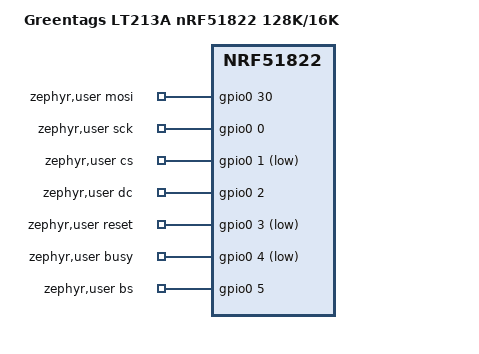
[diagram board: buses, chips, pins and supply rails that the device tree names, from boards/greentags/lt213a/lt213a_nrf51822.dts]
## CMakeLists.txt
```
cmake_minimum_required(VERSION 3.20.0)
list(APPEND BOARD_ROOT ${CMAKE_CURRENT_SOURCE_DIR})
find_package(Zephyr REQUIRED HINTS $ENV{ZEPHYR_BASE})
project(greentags_opendisplay C)
execute_process(COMMAND git rev-parse --short=12 HEAD
    WORKING_DIRECTORY ${CMAKE_CURRENT_SOURCE_DIR}
    OUTPUT_VARIABLE OD_BUILD_SHA OUTPUT_STRIP_TRAILING_WHITESPACE ERROR_QUIET)
if(NOT OD_BUILD_SHA)
    set(OD_BUILD_SHA "unknown")
endif()
target_compile_definitions(app PRIVATE OD_BUILD_SHA="${OD_BUILD_SHA}")
target_sources(app PRIVATE src/main.c src/protocol.c src/epd.c src/telemetry.c)
target_include_directories(app PRIVATE src)
target_sources(app PRIVATE src/config_store.c src/storage.c)
target_sources(app PRIVATE src/security.c)
target_sources(app PRIVATE third_party/uzlib/od_zlib_stream.c third_party/uzlib/adler32.c)
target_include_directories(app PRIVATE third_party/uzlib)
target_sources(app PRIVATE src/crypto.c src/crypto_zephyr.c)
```

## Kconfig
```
mainmenu "LT213A OpenDisplay"

config LT213A_EPD_DEEP_SLEEP
    bool "Panel deep sleep (0x07 A5)"
    default y
    help
      Send the UC8151 deep-sleep command after successful power-off.
      RESET wakes the panel for the next transfer. BUSY timeout cleanup
      never sends deep sleep before successful power-off.

# This upstream symbol has no prompt; set the board-specific default before
# importing Zephyr. Keep its high-priority RX and interrupt stacks unchanged.
config BT_CTLR_RX_STACK_SIZE
    default 768

source "Kconfig.zephyr"
```

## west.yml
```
manifest:
  version: "0.13"
  projects:
    - name: zephyr
      url: https://github.com/zephyrproject-rtos/zephyr
      revision: v4.4.2
      west-commands: scripts/west-commands.yml
      import:
        name-allowlist:
          - cmsis_6
          - hal_nordic
  self:
    path: manifest
```

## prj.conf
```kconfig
# Upstream Zephyr Host AND Link Layer. No SoftDevice or bootloader.
CONFIG_BT=y
CONFIG_BT_PERIPHERAL=y
CONFIG_BT_LL_SW_SPLIT=y
CONFIG_BT_MAX_CONN=1
# Callbacks are registered statically with BT_CONN_CB_DEFINE.
CONFIG_BT_CONN_DYNAMIC_CALLBACKS=n
# The fixed GATT database contains exactly one built-in GAP service.
CONFIG_BT_GATT_GAP_SVC_VALIDATE=n
CONFIG_BT_DEVICE_NAME="OD"
CONFIG_BT_DEVICE_NAME_DYNAMIC=y
CONFIG_BT_DEVICE_NAME_MAX=29
CONFIG_BT_SMP=n
CONFIG_BT_SETTINGS=n
CONFIG_BT_PRIVACY=n
CONFIG_BT_GATT_CACHING=n
CONFIG_BT_GATT_SERVICE_CHANGED=n
CONFIG_BT_PHY_UPDATE=n
# nRF51 cleartext DLE support raised the tested Apple peer to ATT MTU 247.
# Asymmetric DLE uses the existing RX node size and fits encrypted replies in one TX packet.
CONFIG_BT_DATA_LEN_UPDATE=y
CONFIG_BT_CTLR_ADVANCED_FEATURES=y
CONFIG_BT_CTLR_DATA_LENGTH_CLEAR=y
CONFIG_BT_CTLR_DATA_LENGTH_MAX=37
# One connection, no PHY update: bound the local control-procedure pool.
CONFIG_BT_CTLR_LLCP_LOCAL_PROC_CTX_BUF_NUM=4
CONFIG_BT_CTLR_PHY_2M=n
CONFIG_BT_CTLR_LE_ENC=n
# Application AES uses the controller-owned ECB peripheral.
CONFIG_BT_CTLR_CRYPTO=y
CONFIG_BT_CTLR_CHAN_SEL_2=n
CONFIG_BT_BUF_ACL_RX_SIZE=251
CONFIG_BT_BUF_ACL_TX_SIZE=56
CONFIG_BT_L2CAP_TX_MTU=247
CONFIG_BT_BUF_ACL_RX_COUNT_EXTRA=1
CONFIG_BT_BUF_ACL_TX_COUNT=1
# One TX packet in flight; Zephyr still needs one extra event buffer.
CONFIG_BT_BUF_EVT_RX_COUNT=2
CONFIG_BT_BUF_EVT_DISCARDABLE_COUNT=1
# One application notification plus response and error-replacement slots.
CONFIG_BT_ATT_TX_COUNT=3
CONFIG_BT_GAP_AUTO_UPDATE_CONN_PARAMS=n
CONFIG_BT_CTLR_CONN_PARAM_REQ=n
CONFIG_BT_L2CAP_TX_BUF_COUNT=2
CONFIG_BT_RX_STACK_SIZE=1024
# Hardware AES reduces crypto frames; see docs/performance.md for limits.
CONFIG_MAIN_STACK_SIZE=1280
CONFIG_SYSTEM_WORKQUEUE_STACK_SIZE=768
CONFIG_ISR_STACK_SIZE=1024
CONFIG_IDLE_STACK_SIZE=128
CONFIG_HEAP_MEM_POOL_SIZE=0
# No time slice is configured or requested by this application/Bluetooth stack.
CONFIG_TIMESLICING=n
# Only bounded relative waits are used; uptime remains 64-bit.
CONFIG_TIMEOUT_64BIT=n
CONFIG_SIZE_OPTIMIZATIONS=n
CONFIG_SPEED_OPTIMIZATIONS=y
# OpenDisplay uses ordinary HCI, single-attribute reads and a local device name.
CONFIG_BT_HCI_VS=n
CONFIG_BT_ASSERT_VERBOSE=n
CONFIG_BT_GATT_READ_MULTIPLE=n
CONFIG_BT_GATT_READ_MULT_VAR_LEN=n
CONFIG_BT_DEVICE_NAME_GATT_WRITABLE=n
# Only legacy undirected advertising; no directed/extended advertising switch.
CONFIG_BT_CTLR_AD_DATA_BACKUP=n
CONFIG_BT_CTLR_MIN_USED_CHAN=n
CONFIG_LTO=y
CONFIG_ISR_TABLES_LOCAL_DECLARATION=y
CONFIG_FLASH=y
CONFIG_USE_DT_CODE_PARTITION=y
CONFIG_GPIO=n
CONFIG_MINIMAL_LIBC=y
CONFIG_CONSOLE=n
CONFIG_SERIAL=n
CONFIG_PRINTK=n
CONFIG_LOG=n
CONFIG_ASSERT=n
CONFIG_STACK_SENTINEL=y
CONFIG_INIT_STACKS=y
CONFIG_THREAD_STACK_INFO=y
CONFIG_REBOOT=y
CONFIG_BOOT_BANNER=n

# Fixed partitions use flash_read/write/erase, not page-layout queries.
CONFIG_FLASH_PAGE_LAYOUT=n
# Errors are returned as negative constants; no per-thread errno variable.
CONFIG_ERRNO=n
```

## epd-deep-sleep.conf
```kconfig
# Default panel mode; RESET wakes it before the next transfer.
CONFIG_LT213A_EPD_DEEP_SLEEP=y
```

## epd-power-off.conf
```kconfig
# Comparison mode: power-off without panel deep sleep.
CONFIG_LT213A_EPD_DEEP_SLEEP=n
```

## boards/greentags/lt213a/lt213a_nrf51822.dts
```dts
/dts-v1/;
#include <nordic/nrf51822_qfab.dtsi>
#include <zephyr/dt-bindings/gpio/gpio.h>

/ {
    model = "Greentags LT213A nRF51822 128K/16K";
    compatible = "greentags,lt213a";
    chosen {
        zephyr,sram = &sram0;
        zephyr,flash = &flash0;
        zephyr,code-partition = &app_partition;
    };
    zephyr,user {
        mosi-gpios = <&gpio0 30 GPIO_ACTIVE_HIGH>;
        sck-gpios = <&gpio0 0 GPIO_ACTIVE_HIGH>;
        cs-gpios = <&gpio0 1 GPIO_ACTIVE_LOW>;
        dc-gpios = <&gpio0 2 GPIO_ACTIVE_HIGH>;
        reset-gpios = <&gpio0 3 GPIO_ACTIVE_LOW>;
        busy-gpios = <&gpio0 4 GPIO_ACTIVE_LOW>;
        bs-gpios = <&gpio0 5 GPIO_ACTIVE_HIGH>;
    };
};
&gpio0 { status = "okay"; };
&gpiote { status = "okay"; };
&uart0 { status = "disabled"; };
&flash0 {
    partitions {
        compatible = "fixed-partitions";
        #address-cells = <1>;
        #size-cells = <1>;
        app_partition: partition@0 { label = "application"; reg = <0 0x1f800>; };
        storage_partition: partition@1f800 { label = "config"; reg = <0x1f800 0x800>; };
    };
};
```

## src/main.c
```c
#include "protocol.h"
#include "config_store.h"
#include "security.h"
#include "telemetry.h"
#include <zephyr/bluetooth/bluetooth.h>
#include <zephyr/bluetooth/conn.h>
#include <zephyr/bluetooth/gatt.h>
#include <zephyr/kernel.h>
#include <zephyr/random/random.h>
#include <hal/nrf_ficr.h>
#include <hal/nrf_wdt.h>
#include <zephyr/sys/atomic.h>
#include <zephyr/sys/byteorder.h>
#include <zephyr/sys/reboot.h>
#include <errno.h>
#include <string.h>

static struct od_protocol protocol;
static struct od_security security;
static atomic_t generation;
static atomic_t link_up;
/* A coalescing wakeup covers both queued commands and connection changes. */
K_SEM_DEFINE(events, 0, 1);
K_SEM_DEFINE(notify_done, 0, 1);
/* Even tickets own an outstanding notification; odd tickets are completed.
 * Only main starts a send. The callback may run after a timeout/disconnect. */
static atomic_t notify_ticket = 1;
static atomic_val_t notify_generation;
static uint8_t msd[16] = {0x46, 0x24, 0, 0, 0, 0, 0, 0, 0, 0, 0, 0, 0, 0, 0, 2};

struct command {
    struct bt_conn *conn;
    atomic_val_t generation;
    uint8_t size;
    bool accepted;
    uint8_t data[OD_MAX_FRAME];
};
K_MSGQ_DEFINE(commands, sizeof(struct command), 1, 4);

static ssize_t written(struct bt_conn *conn, const struct bt_gatt_attr *attr,
                       const void *buf, uint16_t len, uint16_t offset, uint8_t flags)
{
    ARG_UNUSED(attr);
    if (offset || (flags & BT_GATT_WRITE_FLAG_PREPARE)) {
        return BT_GATT_ERR(BT_ATT_ERR_INVALID_OFFSET);
    }
    if (len < 2 || len > OD_MAX_FRAME) { return BT_GATT_ERR(BT_ATT_ERR_INVALID_ATTRIBUTE_LEN); }
    struct command command = { .conn = bt_conn_ref(conn),
        .generation = atomic_get(&generation), .size = len };
    memcpy(command.data, buf, len);
    if (k_msgq_put(&commands, &command, K_NO_WAIT)) {
        bt_conn_unref(command.conn);
        /* WWR has no ATT error response. Drop the link rather than silently
         * losing bytes and allowing a later END to produce the wrong image. */
        bt_conn_disconnect(conn, BT_HCI_ERR_REMOTE_USER_TERM_CONN);
        return BT_GATT_ERR(BT_ATT_ERR_INSUFFICIENT_RESOURCES);
    }
    k_sem_give(&events);
    return len;
}

BT_GATT_SERVICE_DEFINE(display_service,
    BT_GATT_PRIMARY_SERVICE(BT_UUID_DECLARE_16(0x2446)),
    BT_GATT_CHARACTERISTIC(BT_UUID_DECLARE_16(0x2446),
        BT_GATT_CHRC_WRITE | BT_GATT_CHRC_WRITE_WITHOUT_RESP | BT_GATT_CHRC_NOTIFY,
        BT_GATT_PERM_WRITE, NULL, written, NULL),
    BT_GATT_CCC(NULL, BT_GATT_PERM_READ | BT_GATT_PERM_WRITE)
);

static const struct bt_data advertising[] = {
    BT_DATA_BYTES(BT_DATA_FLAGS, BT_LE_AD_GENERAL | BT_LE_AD_NO_BREDR),
    BT_DATA_BYTES(BT_DATA_UUID16_ALL, 0x46, 0x24),
    BT_DATA(BT_DATA_MANUFACTURER_DATA, msd, sizeof(msd)),
};
static struct bt_data scan_response[] = {
    BT_DATA(BT_DATA_NAME_COMPLETE, NULL, 8),
};

static int update_name(void)
{
    BUILD_ASSERT(CONFIG_BT_DEVICE_NAME_MAX == OD_NAME_MAX);
    char name[OD_NAME_MAX + 1];
    size_t len = od_config_name(name, NRF_FICR->DEVICEID[1]);
    int err = bt_set_name(name);
    if (!err) {
        scan_response[0].data = (const uint8_t *)bt_get_name();
        scan_response[0].data_len = len;
    }
    return err;
}

/* Shared Mynewt/Zephyr profile: fast 100–150 ms for 30 s, slow 1 s. */
static int advertise(bool fast)
{
    return bt_le_adv_start(BT_LE_ADV_PARAM(BT_LE_ADV_OPT_CONN,
                           fast ? 160 : 1600, fast ? 240 : 1600, NULL),
                           advertising, ARRAY_SIZE(advertising),
                           scan_response, ARRAY_SIZE(scan_response));
}

#define LINK_IDLE_MS 120000
#define TELEMETRY_MS 300000
#define FAST_ADV_MS 30000

static int sample_msd(void *ctx)
{
    ARG_UNUSED(ctx);
    return od_read_msd(msd);
}

static void connected(struct bt_conn *conn, uint8_t err)
{
    ARG_UNUSED(conn);
    if (!err) {
        atomic_set(&link_up, 1);
        atomic_inc(&generation);
        k_sem_give(&events);
    }
}

static void disconnected(struct bt_conn *conn, uint8_t reason)
{
    ARG_UNUSED(conn); ARG_UNUSED(reason);
    atomic_clear(&link_up);
    atomic_inc(&generation);
    k_sem_give(&events);
}
BT_CONN_CB_DEFINE(connection_callbacks) = {
    .connected = connected,
    .disconnected = disconnected,
};

static bool live(const struct command *command)
{
    struct bt_conn_info info;
    return command->generation == atomic_get(&generation) &&
           !bt_conn_get_info(command->conn, &info) && info.state == BT_CONN_STATE_CONNECTED;
}

static void notification_sent(struct bt_conn *conn, void *user_data)
{
    ARG_UNUSED(conn);
    atomic_val_t ticket = (atomic_val_t)(uintptr_t)user_data;
    /* Zephyr returns the ATT buffer before invoking this callback. */
    if (atomic_cas(&notify_ticket, ticket, ticket | 1)) {
        k_sem_give(&notify_done);
    }
}

static int send_wire(void *ctx, const uint8_t *data, size_t len)
{
    const struct command *command = ctx;
    if (!live(command)) { return -ENOTCONN; }
    uint32_t previous = (uint32_t)atomic_get(&notify_ticket);
    /* Timeout does not cancel a queued notification. Keep its slot reserved
     * on this connection, even if requesting its disconnect fails. */
    if (!(previous & 1) && notify_generation == command->generation) {
        return -EBUSY;
    }
    atomic_val_t ticket = (atomic_val_t)((previous + 2U) & ~1U);
    notify_generation = command->generation;
    atomic_set(&notify_ticket, ticket);
    k_sem_reset(&notify_done);
    struct bt_gatt_notify_params params = {
        .attr = &display_service.attrs[2], .data = data, .len = len,
        .func = notification_sent, .user_data = (void *)(uintptr_t)(uint32_t)ticket,
    };
    int64_t deadline = k_uptime_get() + 2000;
    for (;;) {
        int err = live(command) ? bt_gatt_notify_cb(command->conn, &params) : -ENOTCONN;
        if (!err) { break; }
        if ((err != -ENOMEM && err != -EAGAIN) || k_uptime_get() >= deadline) {
            atomic_set(&notify_ticket, ticket | 1); /* Nothing was queued. */
            return (err == -ENOMEM || err == -EAGAIN) ? -ETIMEDOUT : err;
        }
        k_msleep(10);
    }
    while (atomic_get(&notify_ticket) == ticket) {
        if (!live(command)) { return -ENOTCONN; }
        if (k_uptime_get() >= deadline) { return -ETIMEDOUT; }
        /* Late callbacks may leave stale wakeups; the ticket is authoritative. */
        k_sem_take(&notify_done, K_MSEC(10));
    }
    return live(command) ? 0 : -ENOTCONN;
}

static int send_response(void *ctx, const uint8_t *data, size_t len)
{
    struct command *command = ctx;
    /* As upstream: rejected frames and handshake/discovery traffic must not
     * keep an otherwise idle connection alive indefinitely. */
    if (data[0] == 0 && data[1] == command->data[1] && data[1] != 0x43 && data[1] != 0x50) {
        command->accepted = true;
    }
    if (security.authenticated && data[1] != 0x43 && data[1] != 0x50 && data[0] != 0xfe) {
        uint8_t encrypted[64];
        int count = od_security_encrypt(&security, data, len, encrypted, sizeof(encrypted));
        return count < 0 ? count : send_wire(ctx, encrypted, count);
    }
    return send_wire(ctx, data, len);
}

static int secure_random(void *data, size_t len) { return sys_csrand_get(data, len); }

static int dispatch(struct command *command, const struct od_io *io)
{
    uint32_t now = k_uptime_get_32();
    bool expired = od_security_expire(&security, now);
    if (expired) { od_abort(&protocol, io); od_config_cancel(); }
    if (command->data[0] == 0 && command->data[1] == 0x50) {
        od_abort(&protocol, io); od_config_cancel();
        uint32_t id = NRF_FICR->DEVICEID[0];
        uint8_t device_id[] = {id >> 24, id >> 16, id >> 8, id};
        uint8_t response[23];
        int count = od_security_auth(&security, command->data + 2, command->size - 2,
            now, device_id, secure_random, response);
        return send_wire(command, response, count);
    }
    if (od_security_enabled() && !(command->data[0] == 0 && command->data[1] == 0x43)) {
        if (!security.authenticated) {
            const uint8_t response[] = {0, command->data[1], 0xfe};
            return send_wire(command, response, sizeof(response));
        }
        int count = od_security_decrypt(&security, command->data, command->size, now);
        if (count < 0) {
            /* PIPE DATA retransmissions must not abort the transfer/session. */
            if (count == -EALREADY && command->data[0] == 0 && command->data[1] == 0x81) { return 0; }
            const uint8_t response[] = {0, command->data[1], 0xff};
            return send_wire(command, response, sizeof(response));
        }
        command->size = count;
    }
    return od_handle(&protocol, io, command->data, command->size);
}

static int begin(void *ctx)
{
    ARG_UNUSED(ctx);
    return epd_begin();
}

static int write_panel(void *ctx, const uint8_t *data, size_t len)
{
    ARG_UNUSED(ctx);
    return epd_write(data, len);
}

static int finish(void *ctx, uint8_t mode) { ARG_UNUSED(ctx); return epd_finish(mode); }
static int region(void *ctx, uint16_t x, uint16_t y, uint16_t w, uint16_t h)
{ ARG_UNUSED(ctx); return epd_region(x, y, w, h); }
static void abort_panel(void *ctx) { ARG_UNUSED(ctx); (void)epd_off(); }

static void reboot(void *ctx)
{
    ARG_UNUSED(ctx);
    sys_reboot(SYS_REBOOT_COLD);
}

static void disconnect_idle(struct bt_conn *conn, void *ctx)
{
    if (atomic_get(&generation) != *(atomic_val_t *)ctx) { return; }
    struct bt_conn_info info;
    if (!bt_conn_get_info(conn, &info) && info.state == BT_CONN_STATE_CONNECTED) {
        (void)bt_conn_disconnect(conn, BT_HCI_ERR_REMOTE_USER_TERM_CONN);
    }
}

/* No driver state or extra thread: this board has only 16 KiB RAM. Run while
 * sleeping, pause only for a halted debugger. Feed solely from the main loop;
 * 180 s covers its 60 s idle wait plus bounded panel timeout/cleanup paths. */
void k_sys_fatal_error_handler(unsigned int reason, const struct arch_esf *esf)
{
    ARG_UNUSED(reason); ARG_UNUSED(esf);
    sys_reboot(SYS_REBOOT_COLD);
}

int main(void)
{
    nrf_wdt_behaviour_set(NRF_WDT, NRF_WDT_BEHAVIOUR_RUN_SLEEP_MASK);
    nrf_wdt_reload_value_set(NRF_WDT, 180u * 32768u - 1u);
    nrf_wdt_reload_request_enable(NRF_WDT, NRF_WDT_RR0);
    nrf_wdt_task_trigger(NRF_WDT, NRF_WDT_TASK_START);
    extern int storage_init(void);
    int storage_err = storage_init();
    if (storage_err) { return storage_err; }
    od_security_reset(&security);
    if (od_security_enabled()) { msd[15] |= BIT(3); }
    int err = epd_init();
    if (err) { return err; }
    (void)od_read_msd(msd);
    /* Preserve Nordic's factory static identity without vendor HCI commands.
     * Same FICR validity and static-address bits as Zephyr's Nordic controller.
     */
    if ((NRF_FICR->DEVICEADDRTYPE & 1) &&
        (NRF_FICR->DEVICEADDR[0] != UINT32_MAX ||
         (NRF_FICR->DEVICEADDR[1] & UINT16_MAX) != UINT16_MAX)) {
        bt_addr_le_t identity = {.type = BT_ADDR_LE_RANDOM};
        sys_put_le32(NRF_FICR->DEVICEADDR[0], identity.a.val);
        sys_put_le16(NRF_FICR->DEVICEADDR[1], identity.a.val + 4);
        BT_ADDR_SET_STATIC(&identity.a);
        err = bt_id_create(&identity, NULL);
        if (err < 0) { return err; }
    }
    err = bt_enable(NULL);
    if (err) { return err; }
    err = update_name();
    if (err) { return err; }
    err = advertise(true);
    if (err) { return err; }
    bool fast_advertising = true;
    bool restart_advertising = false;
    int64_t retry_adv_at = 0;
    int64_t slow_adv_at = k_uptime_get() + FAST_ADV_MS;
    atomic_val_t current = -1;
    int64_t last_packet = k_uptime_get();
    int64_t last_activity = last_packet;
    int64_t last_telemetry = k_uptime_get();
    for (;;) {
        nrf_wdt_reload_request_set(NRF_WDT, NRF_WDT_RR0);
        struct command command;
        const struct od_io io = { .send = send_response, .begin = begin,
            .write = write_panel, .finish = finish, .abort = abort_panel,
            .reboot = reboot, .ctx = &command, .msd = msd, .region = region,
            .sample_msd = sample_msd };
        int64_t now = k_uptime_get();
        /* Bound watchdog feeding independently of the five-minute telemetry. */
        int64_t deadline = now + 60000;
        if (!atomic_get(&link_up)) { deadline = MIN(deadline, last_telemetry + TELEMETRY_MS); }
        if (protocol.active || od_config_writing()) { deadline = MIN(deadline, last_packet + 30000); }
        if (atomic_get(&link_up)) { deadline = MIN(deadline, last_activity + LINK_IDLE_MS); }
        else if (restart_advertising) { deadline = MIN(deadline, retry_adv_at); }
        else if (fast_advertising) { deadline = MIN(deadline, slow_adv_at); }
        /* No one-second polling. Connection callbacks wake this wait even
         * when the command queue is full, so disconnect cleanup is prompt. */
        if (atomic_get(&generation) == current) {
            (void)k_sem_take(&events, K_MSEC(MAX(deadline - now, 0)));
        }
        /* Waiting and command processing each get a full watchdog interval.
         * A slow multi-notification config read can outlast one idle period. */
        nrf_wdt_reload_request_set(NRF_WDT, NRF_WDT_RR0);
        int received = k_msgq_get(&commands, &command, K_NO_WAIT);
        now = k_uptime_get();
        atomic_val_t next = atomic_get(&generation);
        if (next != current || ((protocol.active || od_config_writing()) && now - last_packet >= 30000)) {
            od_abort(&protocol, &io);
            od_config_cancel();
            if (next != current) {
                od_security_reset(&security);
                last_packet = now;
                last_activity = now;
                if (current != -1 && !atomic_get(&link_up)) {
                    /* Restart the fast window after every disconnect.
                     * If references still hold the connection, retry below. */
                    fast_advertising = true;
                    slow_adv_at = now + FAST_ADV_MS;
                    restart_advertising = true;
                    retry_adv_at = now;
                }
            }
            current = next;
        }
        if (!atomic_get(&link_up) &&
            ((restart_advertising && now >= retry_adv_at) ||
             (!restart_advertising && fast_advertising && now >= slow_adv_at))) {
            /* Retry transient HCI errors without ending the fast window early.
             * A connection may race stop/start; never disconnect that peer. */
            bool fast = now < slow_adv_at;
            if (!fast && fast_advertising && last_telemetry < slow_adv_at) {
                (void)od_read_msd(msd);
                last_telemetry = now;
            }
            int adv_err = bt_le_adv_stop();
            if (!adv_err && !atomic_get(&link_up)) {
                adv_err = advertise(fast);
                if (!adv_err) { fast_advertising = fast; }
            }
            restart_advertising = adv_err != 0;
            retry_adv_at = k_uptime_get() + 5000;
        }
        if (!atomic_get(&link_up) && now - last_telemetry >= TELEMETRY_MS) {
            if (!od_read_msd(msd)) {
                (void)bt_le_adv_update_data(advertising, ARRAY_SIZE(advertising),
                                           scan_response, ARRAY_SIZE(scan_response));
            }
            last_telemetry = now;
        }
        if (!received) {
            if (live(&command)) {
                size_t config_len;
                const uint8_t *old_config = od_config_get(&config_len);
                err = dispatch(&command, &io);
                if (old_config != od_config_get(&config_len)) {
                    od_security_reset(&security);
                    msd[15] = (msd[15] & ~BIT(3)) | (od_security_enabled() ? BIT(3) : 0);
                    (void)update_name();
                    (void)bt_le_adv_update_data(advertising, ARRAY_SIZE(advertising), scan_response, ARRAY_SIZE(scan_response));
                }
                if (command.data[0] == 0 && command.data[1] == 0x44 && command.size == 2 && command.accepted && !err) {
                    msd[15] &= ~BIT(1);
                    (void)bt_le_adv_update_data(advertising, ARRAY_SIZE(advertising),
                                               scan_response, ARRAY_SIZE(scan_response));
                }
                last_packet = k_uptime_get();
                if (command.accepted) { last_activity = last_packet; }
                if (err) {
                    od_abort(&protocol, &io);
                    bt_conn_disconnect(command.conn, BT_HCI_ERR_REMOTE_USER_TERM_CONN);
                }
            }
            bt_conn_unref(command.conn);
        }
        /* Consume queued work first. Synchronous refresh also finishes before
         * this check and restamps activity, regardless of its wall-clock cost. */
        now = k_uptime_get();
        if (atomic_get(&link_up) && now - last_activity >= LINK_IDLE_MS) {
            bt_conn_foreach(BT_CONN_TYPE_LE, disconnect_idle, &current);
            last_activity = now; /* Bound retries on an HCI error. */
        }
    }
}
```

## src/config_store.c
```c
#include "config_store.h"
#include <string.h>
#include <errno.h>
#include "config.inc"

/* One 1-KiB erase page per slot. Commit word is written LAST. A reset at any
 * earlier point leaves the previous generation readable. No heap or RAM blob. */
#define COMMIT 0x434f444fu
struct header { uint32_t generation; uint32_t length; uint32_t checksum; uint32_t commit; };
static const struct od_flash_ops *flash;
static int active_slot = -1, staging = -1;
static size_t expected, received;
static uint32_t generation;

static uint16_t crc(const uint8_t *data, size_t len, bool outer)
{
    uint16_t c = 0xffff;
    for (size_t i = 0; i < len; i++) {
        c ^= (uint16_t)((outer && i < 2) ? 0 : data[i]) << 8;
        for (int b = 0; b < 8; b++) { c = (c << 1) ^ ((c & 0x8000) ? 0x1021 : 0); }
    }
    return c;
}

int od_config_validate(const uint8_t *data, size_t len)
{
    if (len < 5 || len > OD_CONFIG_MAX || data[2] != 1 ||
        ((data[0] | data[1] << 8) != 0 && (size_t)(data[0] | data[1] << 8) != len) ||
        crc(data, len - 2, true) != (data[len - 2] | data[len - 1] << 8)) { return -EINVAL; }
    unsigned seen = 0;
    for (size_t pos = 3; pos < len - 2;) {
        if (pos + 2 > len - 2 || data[pos] != 0) { return -EINVAL; }
        uint8_t type = data[pos + 1];
        size_t size; unsigned bit;
        switch (type) {
        case 1: size = 22; bit = 1; break;
        case 2: size = 22; bit = 2; break;
        case 4: size = 30; bit = 4; break;
        case 32: size = 46; bit = 8; break;
        case 39: size = 64; bit = 16; break;
        case 44: size = 288; bit = 32; break;
        default: return -ENOTSUP; /* no corresponding physical peripheral */
        }
        if ((seen & bit) || pos + 2 + size > len - 2) { return -EINVAL; }
        seen |= bit;
        const uint8_t *p = data + pos + 2;
        /* This firmware is for fixed wiring, not an arbitrary board programmer. */
        if (type == 1 && (p[0] != 255 || p[1] != 255 || p[2] != 1 || p[3] || p[4] != 255)) { return -ENOTSUP; }
        if (type == 4 && (p[6] != 0 || p[8] != 255 || p[9] != 255 || p[18] || p[19] || p[20] != 255 || p[21] != 255)) { return -ENOTSUP; }
        if (type == 32 && (p[0] || p[1] != 1 || p[2] != 19 || p[3] || p[4] != 104 || p[5] ||
            p[6] != 212 || p[7] || p[14] > 3 || p[15] != 3 || p[16] != 4 || p[17] != 2 ||
            p[18] != 1 || p[19] != 30 || p[20] > 1 || p[21] || (p[22] & ~0x1b) || p[23] || p[24] != 255)) { return -ENOTSUP; }
        if (type == 39) {
            uint8_t key = 0;
            for (int i = 1; i <= 16; i++) { key |= p[i]; }
            if (p[0] > 1 || (p[0] && !key) || p[19]) { return -ENOTSUP; }
        }
        if (type == 44) {
            for (unsigned i = 0; i < 9; i++) { if (!memchr(p + i * 32, 0, 32)) { return -EINVAL; } }
        }
        pos += 2 + size;
    }
    return (seen & 15) == 15 ? 0 : -EINVAL;
}

void od_config_init(const struct od_flash_ops *ops)
{
    flash = ops; active_slot = -1; staging = -1; generation = 0;
    for (unsigned i = 0; i < 2; i++) {
        struct header h;
        const uint8_t *slot = flash->read(i);
        memcpy(&h, slot, sizeof(h));
        if (h.commit != COMMIT || h.length > OD_CONFIG_MAX ||
            crc(slot + sizeof(h), h.length, false) != h.checksum ||
            (h.length && od_config_validate(slot + sizeof(h), h.length))) { continue; }
        if (active_slot < 0 || (int32_t)(h.generation - generation) > 0) {
            active_slot = i; generation = h.generation;
        }
    }
}

const uint8_t *od_config_get(size_t *len)
{
    if (active_slot >= 0) {
        const uint8_t *p = flash->read(active_slot);
        struct header h; memcpy(&h, p, sizeof(h));
        if (h.length) { *len = h.length; return p + sizeof(h); }
    }
    *len = sizeof(od_config); return od_config;
}

static const uint8_t *config_packet(uint8_t type)
{
    size_t len; const uint8_t *p = od_config_get(&len);
    for (size_t pos = 3; pos < len - 2;) {
        uint8_t kind = p[pos + 1];
        if (kind == type) { return p + pos + 2; }
        size_t size = kind == 4 ? 30 : kind == 32 ? 46 : kind == 39 ? 64 : kind == 44 ? 288 : 22;
        pos += size + 2;
    }
    return NULL;
}

const uint8_t *od_config_security(void) { return config_packet(39); }

uint8_t od_config_partial_frames(void)
{
    const uint8_t *extended = config_packet(44);
    if (!extended) { return OD_PARTIAL_FRAMES_DEFAULT; }
    /* DataExtended.custom_string_3; leave unrelated user strings untouched. */
    const char *value = (const char *)extended + 8 * 32;
    const size_t prefix = sizeof(OD_PARTIAL_FRAMES_KEY) - 1;
    if (strncmp(value, OD_PARTIAL_FRAMES_KEY, prefix)) { return OD_PARTIAL_FRAMES_DEFAULT; }
    value += prefix;
    unsigned frames = 0;
    for (; *value; value++) {
        if (*value < '0' || *value > '9') { return OD_PARTIAL_FRAMES_DEFAULT; }
        frames = frames * 10 + (*value - '0');
        if (frames > 255) { return OD_PARTIAL_FRAMES_DEFAULT; }
    }
    return frames ? frames : OD_PARTIAL_FRAMES_DEFAULT;
}

size_t od_config_name(char name[OD_NAME_MAX + 1], uint32_t chip_id)
{
    name[0] = 'O'; name[1] = 'D';
    const uint8_t *extended = config_packet(44);
    const char *serial = extended ? (const char *)extended + 64 : NULL;
    if (serial && serial[0]) {
        size_t len = strlen(serial); /* Validated 32-byte, NUL-terminated field. */
        if (len > OD_NAME_MAX - 2) {
            len = OD_NAME_MAX - 2;
            /* Do not split a UTF-8 character at the advertising size limit. */
            while (len && ((uint8_t)serial[len] & 0xc0) == 0x80) { len--; }
        }
        memcpy(name + 2, serial, len);
        name[len + 2] = 0;
        return len + 2;
    }
    /* Preserve the upstream nRF fallback: DEVICEID[1]'s low 24 bits. */
    for (int i = 7; i >= 2; i--) {
        name[i] = "0123456789ABCDEF"[chip_id & 0xf];
        chip_id >>= 4;
    }
    name[8] = 0;
    return 8;
}

bool od_config_writing(void) { return staging >= 0; }
void od_config_cancel(void) { staging = -1; expected = received = 0; }
int od_config_start(size_t total)
{
    od_config_cancel();
    if (total > OD_CONFIG_MAX || !flash) { return -EINVAL; }
    int target = active_slot == 0 ? 1 : 0;
    int err = flash->erase(target);
    if (err) { return err; }
    staging = target; expected = total; return 0;
}

int od_config_append(const uint8_t *data, size_t len)
{
    if (staging < 0 || len > expected - received || (len == 0 && expected)) {
        od_config_cancel(); return -EINVAL;
    }
    int err = 0;
    /* Preserve previously written bytes of an unaligned flash word. */
    for (size_t i = 0; i < len && !err;) {
        size_t offset = sizeof(struct header) + received + i;
        size_t base = offset & ~(size_t)3, start = offset & 3;
        uint32_t word; memcpy(&word, flash->read(staging) + base, 4);
        size_t count = len - i < 4 - start ? len - i : 4 - start;
        memcpy((uint8_t *)&word + start, data + i, count);
        err = flash->write(staging, base, &word, 4); i += count;
    }
    if (err) { od_config_cancel(); return err; }
    received += len;
    if (received != expected) { return 0; }
    const uint8_t *blob = flash->read(staging) + sizeof(struct header);
    if (expected && od_config_validate(blob, expected)) { od_config_cancel(); return -EINVAL; }
    struct header h = {generation + 1, expected, crc(blob, expected, false), COMMIT};
    err = flash->write(staging, 0, &h, 12);
    if (!err) { err = flash->write(staging, 12, &h.commit, 4); }
    if (!err) { active_slot = staging; generation = h.generation; }
    od_config_cancel(); return err;
}

int od_config_clear(void)
{
    int err = od_config_start(0);
    return err ? err : od_config_append(NULL, 0);
}
```

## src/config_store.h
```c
#pragma once
#include <stddef.h>
#include <stdint.h>
#include <stdbool.h>
#define OD_CONFIG_MAX 768
/* Legacy scan response: 31 bytes minus AD header; keep the OD prefix. */
#define OD_NAME_MAX 29
#define OD_PARTIAL_FRAMES_DEFAULT 100
#define OD_PARTIAL_FRAMES_KEY "lt213a.partial_frames="
struct od_flash_ops {
    int (*erase)(unsigned slot);
    int (*write)(unsigned slot, size_t offset, const void *data, size_t len);
    const uint8_t *(*read)(unsigned slot);
};
void od_config_init(const struct od_flash_ops *ops);
const uint8_t *od_config_get(size_t *len);
const uint8_t *od_config_security(void);
size_t od_config_name(char name[OD_NAME_MAX + 1], uint32_t chip_id);
uint8_t od_config_partial_frames(void);
bool od_config_writing(void);
void od_config_cancel(void);
int od_config_start(size_t total);
int od_config_append(const uint8_t *data, size_t len);
int od_config_clear(void);
int od_config_validate(const uint8_t *data, size_t len);
```

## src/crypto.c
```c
/* SPDX-License-Identifier: GPL-3.0-only
 * AES-CMAC (RFC 4493) and the fixed OpenDisplay AES-CCM profile.
 * AES-block operations are provided by the device or host-test adapter.
 */
#include "crypto.h"
#include <string.h>
static void wipe(void *v, size_t n) { volatile uint8_t *p = v; while (n--) *p++ = 0; }
static void double_block(uint8_t b[16])
{
    uint8_t carry = b[0] >> 7;
    for (unsigned i = 0; i < 15; i++) b[i] = (uint8_t)((b[i] << 1) | (b[i + 1] >> 7));
    b[15] = (uint8_t)((b[15] << 1) ^ (0x87 & (0u - carry)));
}
bool od_cmac(const uint8_t key[16], const uint8_t *in, size_t len, uint8_t out[16])
{
    uint8_t subkey[16] = {0}, block[16] = {0};
    bool ok = false;
    if (od_aes_block(key, subkey, subkey)) goto done;
    double_block(subkey);
    while (len > 16) {
        for (unsigned i = 0; i < 16; i++) block[i] ^= in[i];
        if (od_aes_block(key, block, block)) goto done;
        in += 16; len -= 16;
    }
    if (len < 16) { double_block(subkey); block[len] ^= 0x80; }
    for (size_t i = 0; i < len; i++) block[i] ^= in[i];
    for (unsigned i = 0; i < 16; i++) block[i] ^= subkey[i];
    ok = !od_aes_block(key, block, out);
done:
    wipe(subkey, sizeof(subkey)); wipe(block, sizeof(block)); return ok;
}
static bool ccm_tag(const uint8_t key[16], const uint8_t nonce[13], const uint8_t aad[2],
                    const uint8_t *data, size_t len, uint8_t tag[16])
{
    uint8_t block[16]; bool ok = false;
    block[0] = 0x69; /* Adata=1, M=12, L=2 */
    memcpy(block + 1, nonce, 13); block[14] = (uint8_t)(len >> 8); block[15] = (uint8_t)len;
    if (od_aes_block(key, block, tag)) goto done;
    tag[1] ^= 2; tag[2] ^= aad[0]; tag[3] ^= aad[1];
    if (od_aes_block(key, tag, tag)) goto done;
    for (size_t pos = 0; pos < len; pos += 16) {
        size_t count = len - pos < 16 ? len - pos : 16;
        for (size_t i = 0; i < count; i++) tag[i] ^= data[pos + i];
        if (od_aes_block(key, tag, tag)) goto done;
    }
    block[0] = 1; block[14] = 0; block[15] = 0;
    if (od_aes_block(key, block, block)) goto done;
    for (unsigned i = 0; i < 12; i++) tag[i] ^= block[i];
    ok = true;
done:
    wipe(block, sizeof(block)); return ok;
}
static bool ccm_xor(const uint8_t key[16], const uint8_t nonce[13], uint8_t *data, size_t len)
{
    uint8_t counter[16], stream[16]; bool ok = false;
    counter[0] = 1; memcpy(counter + 1, nonce, 13);
    for (size_t pos = 0; pos < len; pos += 16) {
        unsigned n = (unsigned)(pos / 16 + 1);
        counter[14] = (uint8_t)(n >> 8); counter[15] = (uint8_t)n;
        if (od_aes_block(key, counter, stream)) goto done;
        size_t count = len - pos < 16 ? len - pos : 16;
        for (size_t i = 0; i < count; i++) data[pos + i] ^= stream[i];
    }
    ok = true;
done:
    wipe(counter, sizeof(counter)); wipe(stream, sizeof(stream)); return ok;
}
bool od_ccm(const uint8_t key[16], const uint8_t nonce[13], const uint8_t aad[2],
            uint8_t *data, size_t len, bool decrypt)
{
    uint8_t tag[16]; bool ok = false;
    if (len > 214) return false;
    if (decrypt && !ccm_xor(key, nonce, data, len)) goto done;
    if (!ccm_tag(key, nonce, aad, data, len, tag)) goto done;
    if (decrypt) {
        uint8_t diff = 0;
        for (unsigned i = 0; i < 12; i++) diff |= tag[i] ^ data[len + i];
        ok = diff == 0;
    } else {
        if (!ccm_xor(key, nonce, data, len)) goto done;
        memcpy(data + len, tag, 12); ok = true;
    }
done:
    if (!ok) wipe(data, len);
    wipe(tag, sizeof(tag)); return ok;
}
```

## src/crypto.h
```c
#pragma once
#include <stdbool.h>
#include <stddef.h>
#include <stdint.h>
/* AES-128 encryption; input/output may alias. Return zero on success. */
int od_aes_block(const uint8_t key[16], const uint8_t in[16], uint8_t out[16]);
bool od_cmac(const uint8_t key[16], const uint8_t *in, size_t len, uint8_t out[16]);
/* OpenDisplay fixed profile: nonce 13, AAD 2, tag 12 bytes.
 * len is the payload length (0..214), excluding the tag. data has capacity
 * for len + 12 bytes; encryption appends the tag, decryption verifies it.
 * key/nonce/aad must not overlap data. On authentication/AES failure the
 * payload is wiped. An invalid length is rejected without touching data.
 */
bool od_ccm(const uint8_t key[16], const uint8_t nonce[13], const uint8_t aad[2],
            uint8_t *data, size_t len, bool decrypt);
```

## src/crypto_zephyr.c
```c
#include "crypto.h"
#include <zephyr/bluetooth/crypto.h>
int od_aes_block(const uint8_t key[16], const uint8_t in[16], uint8_t out[16])
{ return bt_encrypt_be(key, in, out); }
```

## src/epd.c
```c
/* GDEW0213T5 register sequence from Good Display's 2019-10-16 demo.
 * Four-wire, mode-0, MSB-first SPI; BS=0. No readback on bidirectional SDA.
 */
#include "epd.h"
#include "config_store.h"
#include <zephyr/devicetree.h>
#include <zephyr/dt-bindings/gpio/gpio.h>
#include <hal/nrf_gpio.h>
#include <zephyr/kernel.h>
#include <errno.h>

struct pin { uint8_t number; bool inverted; };
#define PIN(name) static const struct pin name = { \
    DT_GPIO_PIN(DT_PATH(zephyr_user), name##_gpios), \
    (DT_GPIO_FLAGS(DT_PATH(zephyr_user), name##_gpios) & GPIO_ACTIVE_LOW) != 0 }
PIN(mosi); PIN(sck); PIN(cs); PIN(dc); PIN(reset); PIN(busy); PIN(bs);
static void gpio_pin_set_dt(const struct pin *pin, bool active)
{ nrf_gpio_pin_write(pin->number, active != pin->inverted); }
static int gpio_pin_get_dt(const struct pin *pin)
{ return (nrf_gpio_pin_read(pin->number) != 0) != pin->inverted; }

/* GPIO operations do not mask interrupts: BLE radio deadlines take priority. */
static void shift_out(uint8_t value)
{
    for (unsigned int i = 0; i < 8; i++) {
        gpio_pin_set_dt(&sck, 0);
        gpio_pin_set_dt(&mosi, (value & 0x80) != 0);
        k_busy_wait(1);
        gpio_pin_set_dt(&sck, 1);
        k_busy_wait(1);
        value <<= 1;
    }
    gpio_pin_set_dt(&sck, 0);
}
static void byte_out(uint8_t value, bool data)
{
    gpio_pin_set_dt(&dc, data);
    gpio_pin_set_dt(&cs, 1);
    shift_out(value);
    gpio_pin_set_dt(&cs, 0);
}

static void cmd(uint8_t value) { byte_out(value, false); }
static void data(uint8_t value) { byte_out(value, true); }
/* On this LT213A, the vendor's 14-frame phase left both transitions incomplete.
 * Default to the tested 100-frame phase; config can select 1..255 frames.
 * Keep the timing identical in all five LUTs. Calibrate against the actual panel. */
/* BUSY high permits the next operation (panel spec, update flow).
 * Keep a small board settling margin; tune here if a panel needs longer. */
#define READY_SETTLE_MS 10
static bool partial;
static bool awake;
static size_t plane_bytes, plane_written;

static void panel_reset(void)
{
    /* Deep sleep may leave BUSY undriven; only reconnect its input when awake. */
    nrf_gpio_cfg_input(busy.number, NRF_GPIO_PIN_NOPULL);
    awake = true;
    gpio_pin_set_dt(&reset, 1);
    k_msleep(10);
    gpio_pin_set_dt(&reset, 0);
    k_msleep(10);
}

static int wait_ready(void)
{
    int64_t deadline = k_uptime_get() + 30000;
    for (;;) {
        cmd(0x71);
        int active = gpio_pin_get_dt(&busy); /* logical 1 = physical LOW */
        if (active < 0) { return active; }
        if (!active) { k_msleep(READY_SETTLE_MS); return 0; }
        if (k_uptime_get() >= deadline) { return -ETIMEDOUT; }
        k_msleep(10);
    }
}

int epd_init(void)
{
    const struct pin *outputs[] = { &cs, &dc, &reset, &bs, &sck, &mosi };
    for (size_t i = 0; i < ARRAY_SIZE(outputs); i++) {
        gpio_pin_set_dt(outputs[i], 0);
        nrf_gpio_cfg_output(outputs[i]->number);
    }
    panel_reset();
    /* Establish a known idle state even if no image is ever uploaded.
     * A stuck/missing panel must not prevent the BLE interface from starting. */
    (void)epd_off();
    return 0;
}

static int panel_begin(bool region)
{
    partial = region;
    gpio_pin_set_dt(&bs, 0);
    panel_reset();
    if (region) { cmd(0x01); data(0x03); data(0x02); data(0x21); data(0x21); }
    cmd(0x06); data(0x17); data(0x17); data(0x17);
    cmd(0x04);
    k_msleep(10); /* allow BUSY to assert before polling */
    int err = wait_ready();
    if (err) { epd_off(); return err; }
    cmd(0x00); data(region ? 0xbf : 0x1f); data(0x0d);
    if (region) { cmd(0x30); data(0x3c); }
    cmd(0x61); data(0x68); data(0x00); data(0xd4);
    if (region) { return 0; }
    cmd(0x50); data(0x97);
    cmd(0x10);
    gpio_pin_set_dt(&dc, 1);
    gpio_pin_set_dt(&cs, 1);
    for (size_t i = 0; i < EPD_FRAME_BYTES; i++) { shift_out(0xff); }
    gpio_pin_set_dt(&cs, 0);
    cmd(0x13);
    return 0;
}

int epd_begin(void) { return panel_begin(false); }

int epd_region(uint16_t x, uint16_t y, uint16_t w, uint16_t h)
{
    if (!w || !h || ((x | w) & 7) || x + w > EPD_WIDTH || y + h > EPD_HEIGHT) { return -EINVAL; }
    int err = panel_begin(true);
    if (err) { return err; }
    /* Good Display GDEW0213T5 Arduino P20201021: register LUT,
     * VCOM / W->W / B->W / W->B / B->B, zero-filled after phase one. */
    cmd(0x82); data(0x08);
    cmd(0x50); data(0x47);
    const uint8_t transitions[] = {0x00, 0x00, 0x20, 0x10, 0x00};
    const uint8_t frames = od_config_partial_frames();
    for (unsigned lut = 0; lut < 5; lut++) {
        cmd(0x20 + lut);
        unsigned count = lut == 0 ? 44 : 42;
        for (unsigned i = 0; i < count; i++) {
            data(i == 0 ? transitions[lut] : i == 2 ? frames : (i == 1 || i == 5) ? 1 : 0);
        }
    }
    cmd(0x91); cmd(0x90);
    data(x); data(x + w - 1);
    data(y >> 8); data(y); data((y + h - 1) >> 8); data(y + h - 1);
    data(0x28);
    cmd(0x10);
    plane_bytes = (w / 8) * h; plane_written = 0; partial = true;
    return 0;
}

int epd_write(const uint8_t *bytes, size_t len)
{
    if (!len) { return 0; }
    gpio_pin_set_dt(&dc, 1);
    gpio_pin_set_dt(&cs, 1);
    for (size_t i = 0; i < len; i++) {
        if (partial && plane_written == plane_bytes) {
            gpio_pin_set_dt(&cs, 0);
            cmd(0x13);
            gpio_pin_set_dt(&dc, 1);
            gpio_pin_set_dt(&cs, 1);
        }
        /* T5 register LUT expects the inverse of OpenDisplay wire pixels. */
        shift_out(partial ? (uint8_t)~bytes[i] : bytes[i]);
        if (partial) { plane_written++; }
    }
    gpio_pin_set_dt(&cs, 0);
    return 0;
}

int epd_finish(uint8_t mode)
{
    if (partial && mode == 0) {
        cmd(0x00); data(0x1f); data(0x0d);
        cmd(0x50); data(0x97);
    }
    cmd(0x12);
    k_msleep(100);
    int err = wait_ready();
    if (partial) { cmd(0x92); }
    int off_err = epd_off();
    return err ? err : off_err;
}

int epd_off(void)
{
    partial = false;
    if (!awake) { return 0; }
    /* Always attempt panel power-off, including on a stuck BUSY line. */
    cmd(0x50); data(0xf7);
    cmd(0x02);
    k_msleep(10);
    int err = wait_ready();
    if (!err) {
        if (IS_ENABLED(CONFIG_LT213A_EPD_DEEP_SLEEP)) {
            cmd(0x07); data(0xa5);
            nrf_gpio_cfg_default(busy.number);
        }
        awake = false;
    }
    gpio_pin_set_dt(&cs, 0);
    gpio_pin_set_dt(&dc, 0);
    gpio_pin_set_dt(&mosi, 0);
    gpio_pin_set_dt(&sck, 0);
    return err;
}
```

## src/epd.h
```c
#pragma once
#include <stddef.h>
#include <stdint.h>
#define EPD_WIDTH 104
#define EPD_HEIGHT 212
#define EPD_FRAME_BYTES ((EPD_WIDTH / 8) * EPD_HEIGHT)
int epd_init(void);
int epd_begin(void);
int epd_region(uint16_t x, uint16_t y, uint16_t w, uint16_t h);
int epd_write(const uint8_t *data, size_t len);
int epd_finish(uint8_t mode);
int epd_off(void);
```

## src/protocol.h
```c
#pragma once
#include "epd.h"
#include <stdbool.h>
#define OD_MAX_FRAME 244

struct od_protocol {
    size_t received;
    size_t expected;
    uint32_t displayed_etag, new_etag, pipe_frames;
    uint16_t pipe_frame;
    uint8_t next_seq;
    bool compressed, zdone, pipe, pipe_failed, partial;
    bool active;
};

struct od_io {
    int (*send)(void *ctx, const uint8_t *data, size_t len);
    int (*begin)(void *ctx);
    int (*write)(void *ctx, const uint8_t *data, size_t len);
    int (*finish)(void *ctx, uint8_t mode);
    void (*abort)(void *ctx);
    void (*reboot)(void *ctx);
    void *ctx;
    const uint8_t *msd;
    int (*sample_msd)(void *ctx);
    int (*region)(void *ctx, uint16_t x, uint16_t y, uint16_t w, uint16_t h);
};

void od_reset(struct od_protocol *p);
void od_abort(struct od_protocol *p, const struct od_io *io);
int od_handle(struct od_protocol *p, const struct od_io *io,
              const uint8_t *data, size_t len);
```

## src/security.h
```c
#pragma once
#include <stddef.h>
#include <stdint.h>
#include <stdbool.h>

struct od_security {
    uint8_t key[16], id[8];
    /* pending owns handshake scratch; authenticated owns the session state.
     * Key/id remain separate: the final proof still needs the challenge. */
    union {
        struct { uint8_t challenge[16]; uint32_t started; } handshake;
        struct {
            uint64_t rx_counter, tx_counter;
            uint32_t replay, started;
            bool rx_seen;
        } session;
    } phase;
    uint32_t rate_time;
    uint8_t attempts;
    bool authenticated, pending;
};
void od_security_reset(struct od_security *s);
bool od_security_enabled(void);
bool od_security_expire(struct od_security *s, uint32_t now);
int od_security_auth(struct od_security *s, const uint8_t *payload, size_t len,
    uint32_t now, const uint8_t device_id[4], int (*random)(void *, size_t), uint8_t response[23]);
int od_security_decrypt(struct od_security *s, uint8_t *frame, size_t len, uint32_t now);
int od_security_encrypt(struct od_security *s, const uint8_t *plain, size_t len, uint8_t *out, size_t capacity);
```

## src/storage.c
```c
#include "config_store.h"
#include <zephyr/drivers/flash.h>
#include <zephyr/devicetree.h>

#define BASE DT_REG_ADDR(DT_NODELABEL(storage_partition))
static const struct device *const flash_device = DEVICE_DT_GET(DT_CHOSEN(zephyr_flash_controller));
static int erase_slot(unsigned slot) { return flash_erase(flash_device, BASE + slot * 1024, 1024); }
static int write_slot(unsigned slot, size_t offset, const void *data, size_t len)
{ return flash_write(flash_device, BASE + slot * 1024 + offset, data, len); }
static const uint8_t *read_slot(unsigned slot) { return (const uint8_t *)(BASE + slot * 1024); }
int storage_init(void)
{
    static const struct od_flash_ops ops = {erase_slot, write_slot, read_slot};
    if (!device_is_ready(flash_device)) { return -ENODEV; }
    od_config_init(&ops); return 0;
}
```
